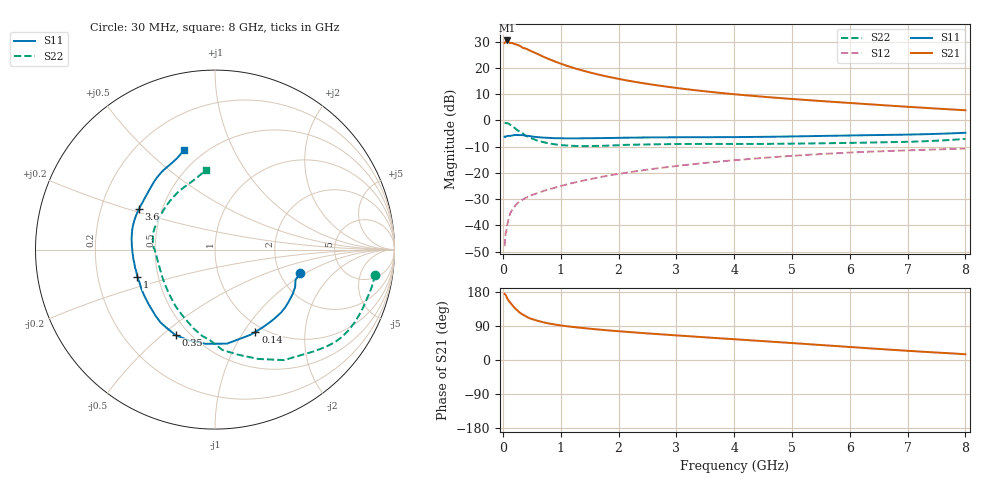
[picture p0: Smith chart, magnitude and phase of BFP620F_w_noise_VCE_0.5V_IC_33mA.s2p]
! Infineon Technologies  Discrete & RF Semiconductors
! BFP620F
! VCE =  0.5 V,  IC =  33 mA
! Common Emitter S-Parameters:  Dec 2014
# GHz  S  MA  R  50
!  f  S11  S21  S12  S22
! GHz  MAG  ANG  MAG  ANG  MAG  ANG  MAG  ANG
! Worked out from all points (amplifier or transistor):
!   95 points, 30 MHz to 8 GHz, reference 50 ohm
!   highest |S21| = 30.5 dB at 70 MHz (marker M1)
!   |S21| within 3 dB of that: start of sweep to 375.8 MHz
!   unconditionally stable (mu >= 1): 2.025 GHz to end of sweep
!   at 300 MHz: K = 0.37, MSG = 29.5 dB, |S12| = -30.7 dB
!   at 3.3 GHz: K = 1.03, MAG = 13.0 dB, |S12| = -16.7 dB
!   at 8 GHz: K = 1.07, MAG = 5.7 dB, |S12| = -10.8 dB
!   lowest NFmin = 1.20 dB at 450 MHz
!   S11 on the Smith chart (normalised r, x): 30 MHz: 2.57, -0.90; 140 MHz: 0.91, -1.13; 350 MHz: 0.42, -0.56; 1 GHz: 0.38, -0.15; 3.6 GHz: 0.37, +0.22; 8 GHz: 0.39, +0.66
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0.03  0.491 -15.7  30.2 174.4  0.004 81.5  0.903 -8.9
0.05  0.4927 -25.0  32.53 171.0  0.0074 86.8  0.8952 -15.1
0.07  0.502 -34.4  33.63 164.5  0.0097 76.5  0.8861 -21.4
0.09  0.5082 -43.5  32.72 158.7  0.0114 74.1  0.8768 -27.7
0.12  0.5076 -56.5  30.35 152.4  0.0159 71.8  0.8435 -37.8
0.14  0.5107 -63.9  30.11 149.2  0.0179 68.6  0.8055 -43.5
0.2  0.5282 -82.7  28.81 137.8  0.0228 63.2  0.726 -58.0
0.25  0.5274 -95.7  27.77 130.9  0.0262 59.1  0.6553 -68.4
0.3  0.5268 -106.2  26.31 124.1  0.0292 57.6  0.6011 -77.3
0.35  0.5245 -114.8  24.2 119.1  0.0313 56.3  0.5614 -85.7
0.45  0.5068 -126.9  22.05 110.9  0.0354 54.8  0.4862 -98.4
0.6  0.4802 -139.8  18.6 103.4  0.0412 54.5  0.4119 -115.6
0.8  0.4652 -151.7  14.79 96.3  0.0487 55.7  0.3646 -131.7
1  0.4584 -160.6  12.15 91.3  0.0562 56.8  0.34 -144.6
1.4  0.4578 -173.1  8.848 84.1  0.0718 57.8  0.3242 -163.7
1.9  0.4644 176.0  6.549 77.2  0.0917 57.3  0.334 -178.5
2.7  0.4765 163.3  4.63 68.1  0.1232 54.1  0.3517 169.7
3.6  0.4799 151.7  3.504 58.8  0.1589 49.0  0.3573 160.0
4.1  0.4829 146.0  3.097 53.8  0.1778 45.5  0.3566 154.3
5.4  0.5048 133.3  2.392 40.5  0.2253 35.6  0.3659 136.7
6.7  0.5314 120.4  1.916 27.2  0.2622 24.7  0.3858 118.1
8  0.5827 107.3  1.567 15.2  0.29 14.4  0.445 96.8
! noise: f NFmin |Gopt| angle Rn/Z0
0.45  1.2  0.08  -172  0.17
0.9  1.23  0.09  -171  0.13
1.5  1.24  0.14  -149  0.13
1.8  1.25  0.14  -148  0.14
1.9  1.26  0.15  -148  0.14
2.4  1.28  0.15  215  0.16
3.5  1.34  0.16  -140  0.18
5.5  1.49  0.23  243  0.14
6  1.53  0.24  260  0.17
